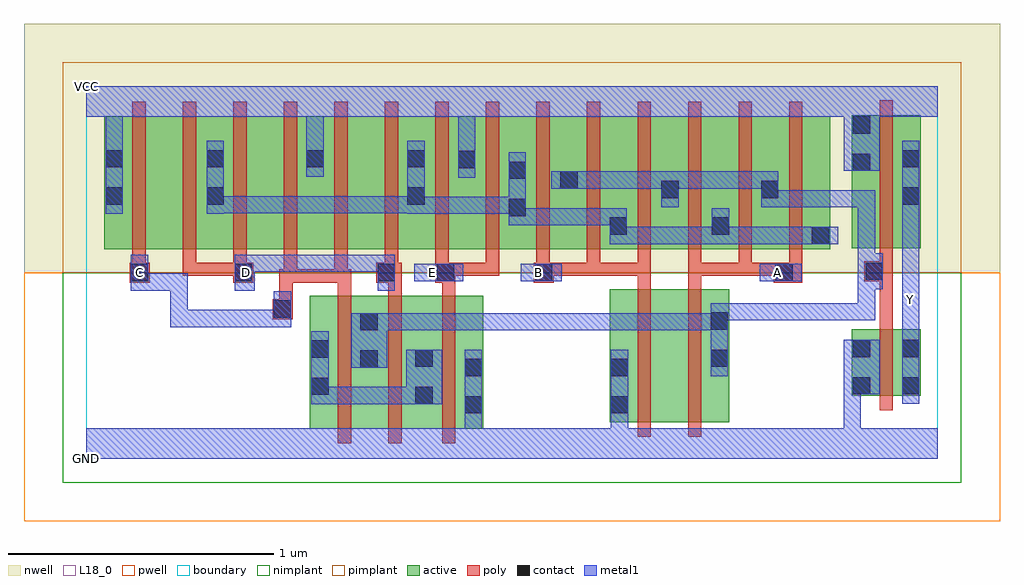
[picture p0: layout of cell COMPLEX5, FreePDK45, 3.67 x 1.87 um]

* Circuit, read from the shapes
.subckt COMPLEX5 A B C D E GND VCC Y
M1 n1 C n2 VSUBS nfet w=0.5u l=0.05u
M2 n2 D n1 VSUBS nfet w=0.5u l=0.05u
M3 GND E n2 VSUBS nfet w=0.5u l=0.05u
M4 n3 B GND VSUBS nfet w=0.5u l=0.05u
M5 n1 A n3 VSUBS nfet w=0.5u l=0.05u
M6 Y n1 GND VSUBS nfet w=0.25u l=0.05u
M7 n4 C VCC n5 pfet w=0.5u l=0.05u
M8 n6 D n4 n5 pfet w=0.5u l=0.05u
M9 n7 D n6 n5 pfet w=0.5u l=0.05u
M10 VCC C n7 n5 pfet w=0.5u l=0.05u
M11 n8 C VCC n5 pfet w=0.5u l=0.05u
M12 n6 D n8 n5 pfet w=0.5u l=0.05u
M13 VCC E n6 n5 pfet w=0.5u l=0.05u m=2
M14 n1 B n6 n5 pfet w=0.5u l=0.05u m=3
M15 n6 A n1 n5 pfet w=0.5u l=0.05u m=3
M16 Y n1 VCC n5 pfet w=0.5u l=0.05u
.ends

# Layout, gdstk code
import gdstk
lib = gdstk.Library(unit=1e-6, precision=1e-09)
def R(c, l, rs):  # rectangles x0, y0, x1, y1
    for r in rs: c.add(gdstk.rectangle(r[:2], r[2:], *l))
def A(c, l, x, y, w, h, nx, ny, dx, dy):  # array of equal rectangles
    R(c, l, [(x+i*dx, y+j*dy, x+i*dx+w, y+j*dy+h) for i in range(nx) for j in range(ny)])
active = (1, 0)
pwell = (2, 0)
nwell = (3, 0)
nimplant = (4, 0)
pimplant = (5, 0)
poly = (9, 0)
contact = (10, 0)
metal1 = (11, 0)
L18_0 = (18, 0)
boundary = (235, 0)

complex5 = lib.new_cell('COMPLEX5')
R(complex5, active, [(0.84,0.112,1.1,0.612), (1.025,0.112,1.307,0.612), (1.232,0.112,1.492,0.612), (1.417,0.112,1.492,0.612), (1.967,0.137,2.192,0.637), (1.967,0.137,2.042,0.637), (2.192,0.137,2.417,0.637), (0.84,0.145,0.915,0.612), (1.025,0.145,1.1,0.592), (1.232,0.145,1.307,0.592), (2.342,0.145,2.417,0.637), (2.877,0.237,2.952,0.487), (2.877,0.237,3.137,0.487), (3.062,0.237,3.137,0.487), (0.067,0.787,0.292,1.287), (0.067,0.787,0.142,1.255), (0.292,0.787,0.522,1.287), (0.447,0.787,0.672,1.287), (0.672,0.787,0.897,1.287), (0.822,0.787,1.052,1.287), (1.052,0.787,1.277,1.287), (1.202,0.787,1.467,1.287), (1.392,0.787,1.657,1.287), (1.582,0.787,1.657,1.2), (1.582,0.787,1.852,1.287), (1.777,0.787,2.037,1.287), (1.962,0.787,2.037,1.07), (1.962,0.787,2.232,1.287), (2.157,0.787,2.422,1.287), (2.347,0.787,2.607,1.287), (2.347,0.787,2.422,1.07), (2.532,0.787,2.797,1.287), (2.532,0.787,2.607,1.2), (2.722,0.787,2.797,1.047), (2.877,0.792,3.137,1.292), (3.062,0.792,3.137,1.2), (0.447,0.807,0.522,1.2), (0.822,0.807,0.897,1.255), (1.202,0.807,1.277,1.2), (1.392,0.807,1.467,1.255), (1.777,0.807,1.852,1.2), (2.157,0.807,2.232,1.2), (2.877,0.807,2.952,1.292)])
R(complex5, pwell, [(-0.235,-0.235,3.435,0.7)])
R(complex5, nwell, [(-0.235,0.7,3.435,1.635)])
R(complex5, nimplant, [(-0.09,-0.09,3.29,0.7)])
R(complex5, pimplant, [(-0.09,0.7,3.29,1.49)])
A(complex5, poly, 0.172, 0.687, 0.05, 0.095, 3, 1, 0.19, 0)
A(complex5, poly, 1.122, 0.687, 0.05, 0.095, 9, 1, 0.19, 0)
A(complex5, poly, 0.172, 0.732, 0.05, 0.61, 14, 1, 0.19, 0)
R(complex5, poly, [(0.945,0.057,0.995,0.667), (1.135,0.057,1.185,0.667), (1.337,0.057,1.387,0.667), (2.072,0.082,2.122,0.692), (2.262,0.082,2.312,0.692), (2.982,0.182,3.032,0.542), (2.982,0.492,3.032,0.717), (0.7,0.525,0.775,0.6), (0.725,0.55,0.775,0.6), (0.725,0.55,0.775,0.6), (0.725,0.55,0.775,0.712), (0.945,0.617,0.995,0.712), (1.135,0.617,1.185,0.712), (1.337,0.617,1.387,0.712), (2.072,0.642,2.122,0.737), (2.262,0.642,2.312,0.737), (0.162,0.662,0.237,0.737), (0.552,0.662,0.627,0.737), (0.725,0.662,0.792,0.712), (0.742,0.662,0.792,0.712), (0.742,0.662,0.792,0.712), (0.742,0.662,0.982,0.712), (0.742,0.662,0.792,0.782), (0.932,0.662,0.982,0.782), (0.932,0.662,0.995,0.712), (1.09,0.662,1.185,0.737), (1.312,0.662,1.387,0.737), (1.682,0.662,1.757,0.737), (2.585,0.662,2.692,0.737), (2.925,0.667,3.032,0.742), (0.362,0.687,0.412,0.737), (0.362,0.687,0.602,0.737), (0.552,0.687,0.602,0.737), (0.552,0.687,0.602,0.737), (1.337,0.687,1.387,0.737), (1.337,0.687,1.387,0.737), (1.337,0.687,1.552,0.737), (1.502,0.687,1.552,0.737), (1.707,0.687,1.757,0.737), (1.707,0.687,1.757,0.737), (1.707,0.687,1.932,0.737), (1.882,0.687,1.932,0.737), (1.882,0.687,2.122,0.737), (2.072,0.687,2.122,0.737), (2.072,0.687,2.122,0.737), (2.072,0.687,2.122,0.737), (2.262,0.687,2.312,0.737), (2.262,0.687,2.312,0.737), (2.262,0.687,2.312,0.737), (2.262,0.687,2.502,0.737), (2.452,0.687,2.502,0.737), (2.452,0.687,2.635,0.737), (2.585,0.687,2.635,0.737), (2.585,0.687,2.635,0.737), (2.982,0.692,3.032,0.787), (2.982,0.737,3.032,1.347)])
R(complex5, contact, [(1.422,0.17,1.487,0.235), (1.972,0.17,2.037,0.235), (1.237,0.205,1.302,0.27), (0.845,0.24,0.91,0.305), (2.882,0.242,2.947,0.307), (3.067,0.242,3.132,0.307), (1.422,0.31,1.487,0.375), (1.972,0.31,2.037,0.375), (1.03,0.342,1.095,0.407), (1.237,0.345,1.302,0.41), (2.347,0.345,2.412,0.41), (0.845,0.38,0.91,0.445), (2.882,0.382,2.947,0.447), (3.067,0.382,3.132,0.447), (1.03,0.482,1.095,0.547), (2.347,0.485,2.412,0.55), (0.705,0.53,0.77,0.595), (0.167,0.667,0.232,0.732), (0.557,0.667,0.622,0.732), (1.095,0.667,1.16,0.732), (1.317,0.667,1.382,0.732), (1.687,0.667,1.752,0.732), (2.59,0.667,2.655,0.732), (2.93,0.672,2.995,0.737), (2.727,0.807,2.792,0.872), (1.967,0.842,2.032,0.907), (2.352,0.842,2.417,0.907), (1.587,0.912,1.652,0.977), (0.072,0.955,0.137,1.02), (0.452,0.955,0.517,1.02), (1.207,0.955,1.272,1.02), (3.067,0.955,3.132,1.02), (2.162,0.98,2.227,1.045), (2.537,0.98,2.602,1.045), (1.782,1.015,1.847,1.08), (1.587,1.052,1.652,1.117), (2.882,1.082,2.947,1.147), (1.397,1.092,1.462,1.157), (0.072,1.095,0.137,1.16), (0.452,1.095,0.517,1.16), (0.827,1.095,0.892,1.16), (1.207,1.095,1.272,1.16), (3.067,1.095,3.132,1.16), (2.882,1.222,2.947,1.287)])
A(complex5, metal1, 1.065, 0.482, 0.065, 0.065, 1, 3, 0, 0.22)
R(complex5, metal1, [(0,0,3.2,0.115), (1.422,0.05,1.487,0.2), (1.972,0.05,2.037,0.2), (2.847,0.05,2.912,0.115), (2.847,0.05,2.912,0.115), (2.847,0.05,2.912,0.115), (2.847,0.05,2.912,0.115), (2.847,0.05,2.912,0.307), (1.422,0.135,1.487,0.41), (1.422,0.135,1.487,0.2), (1.422,0.135,1.487,0.2), (1.972,0.135,2.037,0.41), (1.972,0.135,2.037,0.2), (1.972,0.135,2.037,0.2), (0.845,0.205,0.91,0.48), (0.845,0.205,0.91,0.27), (0.845,0.205,0.91,0.27), (0.845,0.205,1.062,0.27), (0.997,0.205,1.062,0.27), (0.997,0.205,1.062,0.27), (0.997,0.205,1.062,0.27), (0.997,0.205,1.267,0.27), (1.202,0.205,1.337,0.41), (3.067,0.207,3.132,0.482), (2.847,0.242,2.982,0.447), (2.847,0.242,2.912,0.307), (2.847,0.242,2.912,0.307), (2.347,0.31,2.412,0.585), (0.995,0.342,1.13,0.547), (3.067,0.417,3.132,0.597), (1.065,0.482,1.13,0.547), (1.065,0.482,1.267,0.547), (1.202,0.482,1.267,0.547), (1.202,0.482,1.41,0.547), (1.345,0.482,1.41,0.547), (1.345,0.482,1.41,0.547), (1.345,0.482,1.41,0.547), (1.345,0.482,1.555,0.547), (1.49,0.482,1.555,0.547), (1.49,0.482,1.632,0.547), (1.567,0.482,1.632,0.547), (1.567,0.482,1.79,0.547), (1.725,0.482,1.79,0.547), (1.725,0.482,1.79,0.547), (1.725,0.482,1.79,0.547), (1.725,0.482,1.927,0.547), (1.862,0.482,1.927,0.547), (1.862,0.482,2.065,0.547), (2,0.482,2.065,0.547), (2,0.482,2.065,0.547), (2,0.482,2.065,0.547), (2,0.482,2.275,0.547), (2.21,0.482,2.275,0.547), (2.21,0.482,2.275,0.547), (2.21,0.482,2.275,0.547), (2.21,0.482,2.412,0.547), (0.315,0.495,0.38,0.56), (0.315,0.495,0.517,0.56), (0.315,0.495,0.38,0.697), (0.452,0.495,0.517,0.56), (0.452,0.495,0.655,0.56), (0.59,0.495,0.655,0.56), (0.59,0.495,0.655,0.56), (0.59,0.495,0.655,0.56), (0.59,0.495,0.77,0.56), (0.705,0.495,0.77,0.63), (2.347,0.52,2.412,0.585), (2.347,0.52,2.412,0.585), (2.347,0.52,2.555,0.585), (2.49,0.52,2.555,0.585), (2.49,0.52,2.775,0.585), (2.71,0.52,2.965,0.585), (2.71,0.52,2.775,0.585), (2.71,0.52,2.775,0.585), (2.71,0.52,2.775,0.585), (2.9,0.52,2.965,0.585), (2.9,0.52,2.965,0.702), (3.067,0.532,3.132,0.667), (3.067,0.602,3.132,0.985), (0.167,0.632,0.232,0.767), (0.167,0.632,0.232,0.697), (0.167,0.632,0.232,0.697), (0.167,0.632,0.38,0.697), (0.315,0.632,0.38,0.697), (0.315,0.632,0.38,0.697), (0.315,0.632,0.38,0.697), (0.557,0.632,0.632,0.767), (1.095,0.632,1.16,0.767), (2.9,0.637,2.995,0.702), (2.9,0.637,2.965,1.01), (2.9,0.637,2.965,0.702), (2.9,0.637,2.965,0.702), (2.9,0.637,2.965,0.702), (2.93,0.637,2.995,0.772), (1.232,0.667,1.417,0.732), (1.632,0.667,1.787,0.732), (2.532,0.667,2.69,0.732), (0.567,0.702,0.655,0.767), (0.59,0.702,0.655,0.767), (0.59,0.702,0.77,0.767), (0.705,0.702,0.77,0.767), (0.705,0.702,0.89,0.767), (0.825,0.702,0.89,0.767), (0.825,0.702,0.925,0.767), (0.86,0.702,0.925,0.767), (0.86,0.702,1.13,0.767), (1.065,0.702,1.16,0.767), (1.967,0.807,2.032,0.942), (1.967,0.807,2.065,0.872), (2,0.807,2.065,0.872), (2,0.807,2.202,0.872), (2.137,0.807,2.202,0.872), (2.137,0.807,2.202,0.872), (2.137,0.807,2.202,0.872), (2.137,0.807,2.417,0.872), (2.352,0.807,2.417,0.942), (2.352,0.807,2.417,0.872), (2.352,0.807,2.417,0.872), (2.352,0.807,2.62,0.872), (2.555,0.807,2.62,0.872), (2.555,0.807,2.757,0.872), (2.692,0.807,2.757,0.872), (2.692,0.807,2.757,0.872), (2.692,0.807,2.827,0.872), (1.587,0.877,1.652,1.152), (1.587,0.877,1.79,0.942), (1.725,0.877,1.79,0.942), (1.725,0.877,1.79,0.942), (1.725,0.877,1.79,0.942), (1.725,0.877,1.927,0.942), (1.862,0.877,1.927,0.942), (1.862,0.877,2.032,0.942), (0.072,0.92,0.137,1.195), (0.452,0.92,0.517,1.195), (1.207,0.92,1.272,1.195), (1.207,0.92,1.41,0.985), (1.345,0.92,1.41,0.985), (1.345,0.92,1.41,0.985), (1.345,0.92,1.41,0.985), (1.345,0.92,1.56,0.985), (1.495,0.92,1.56,0.985), (1.495,0.92,1.652,0.985), (3.067,0.92,3.132,1.195), (0.452,0.922,0.517,0.987), (0.452,0.922,0.517,0.987), (0.452,0.922,0.752,0.987), (0.687,0.922,0.752,0.987), (0.687,0.922,0.77,0.987), (0.705,0.922,0.77,0.987), (0.705,0.922,0.907,0.987), (0.842,0.922,0.907,0.987), (0.842,0.922,0.907,0.987), (0.842,0.922,0.907,0.987), (0.842,0.922,1.13,0.987), (1.065,0.922,1.13,0.987), (1.065,0.922,1.13,0.987), (1.065,0.922,1.272,0.987), (2.162,0.945,2.227,1.08), (2.537,0.945,2.602,1.08), (2.537,0.945,2.775,1.01), (2.71,0.945,2.965,1.01), (2.71,0.945,2.775,1.01), (2.71,0.945,2.775,1.01), (2.71,0.945,2.775,1.01), (2.9,0.945,2.965,1.01), (1.747,1.015,1.882,1.08), (1.817,1.015,1.927,1.08), (1.862,1.015,1.927,1.08), (1.862,1.015,2.065,1.08), (2,1.015,2.065,1.08), (2,1.015,2.065,1.08), (2,1.015,2.065,1.08), (2,1.015,2.227,1.08), (2.162,1.015,2.227,1.08), (2.162,1.015,2.227,1.08), (2.162,1.015,2.412,1.08), (2.347,1.015,2.602,1.08), (2.347,1.015,2.412,1.08), (2.347,1.015,2.412,1.08), (2.347,1.015,2.412,1.08), (1.397,1.057,1.462,1.192), (0.827,1.06,0.892,1.195), (2.847,1.082,2.982,1.287), (1.397,1.127,1.462,1.35), (0.072,1.13,0.137,1.35), (0.827,1.13,0.892,1.35), (2.917,1.222,2.982,1.35), (0,1.285,3.2,1.4)])
R(complex5, L18_0, [(0,0,3.2,0.115), (1.422,0.05,1.487,0.2), (1.972,0.05,2.037,0.2), (2.847,0.05,2.912,0.115), (2.847,0.05,2.912,0.115), (2.847,0.05,2.912,0.115), (2.847,0.05,2.912,0.115), (2.847,0.05,2.912,0.307), (1.422,0.135,1.487,0.41), (1.422,0.135,1.487,0.2), (1.422,0.135,1.487,0.2), (1.972,0.135,2.037,0.41), (1.972,0.135,2.037,0.2), (1.972,0.135,2.037,0.2), (3.067,0.207,3.132,0.482), (2.847,0.242,2.912,0.307), (2.847,0.242,2.912,0.307), (2.847,0.242,2.982,0.447), (3.067,0.417,3.132,0.597), (0.315,0.495,0.38,0.56), (0.315,0.495,0.38,0.697), (0.315,0.495,0.517,0.56), (0.452,0.495,0.517,0.56), (0.452,0.495,0.655,0.56), (0.59,0.495,0.655,0.56), (0.59,0.495,0.655,0.56), (0.59,0.495,0.655,0.56), (0.59,0.495,0.77,0.56), (0.705,0.495,0.77,0.63), (3.067,0.532,3.132,0.667), (3.067,0.567,3.132,0.632), (3.067,0.602,3.132,0.985), (0.167,0.632,0.232,0.767), (0.167,0.632,0.232,0.697), (0.167,0.632,0.232,0.697), (0.167,0.632,0.38,0.697), (0.315,0.632,0.38,0.697), (0.315,0.632,0.38,0.697), (0.315,0.632,0.38,0.697), (0.557,0.632,0.632,0.767), (1.095,0.632,1.16,0.767), (0.167,0.667,0.232,0.732), (0.567,0.667,0.632,0.732), (1.232,0.667,1.417,0.732), (1.267,0.667,1.332,0.732), (1.632,0.667,1.787,0.732), (1.667,0.667,1.732,0.732), (2.532,0.667,2.69,0.732), (2.567,0.667,2.632,0.732), (0.567,0.702,0.655,0.767), (0.59,0.702,0.655,0.767), (0.59,0.702,0.77,0.767), (0.705,0.702,0.77,0.767), (0.705,0.702,0.89,0.767), (0.825,0.702,0.89,0.767), (0.825,0.702,0.925,0.767), (0.86,0.702,0.925,0.767), (0.86,0.702,1.13,0.767), (1.065,0.702,1.13,0.767), (1.065,0.702,1.16,0.767), (0.072,0.92,0.137,1.195), (3.067,0.92,3.132,1.195), (1.397,1.057,1.462,1.192), (0.827,1.06,0.892,1.195), (2.847,1.082,2.982,1.287), (1.397,1.127,1.462,1.35), (0.072,1.13,0.137,1.35), (0.827,1.13,0.892,1.35), (2.917,1.222,2.982,1.35), (0,1.285,3.2,1.4)])
R(complex5, boundary, [(0,0,3.2,1.4)])
complex5.add(gdstk.Label('A', (2.6,0.7), layer=11, texttype=0))
complex5.add(gdstk.Label('B', (1.7,0.7), layer=11, texttype=0))
complex5.add(gdstk.Label('C', (0.2,0.7), layer=11, texttype=0))
complex5.add(gdstk.Label('D', (0.6,0.7), layer=11, texttype=0))
complex5.add(gdstk.Label('E', (1.3,0.7), layer=11, texttype=0))
complex5.add(gdstk.Label('Y', (3.1,0.6), layer=11, texttype=0))
complex5.add(gdstk.Label('VCC', (0,1.4), layer=11, texttype=0))
complex5.add(gdstk.Label('GND', (0,0), layer=11, texttype=0))

lib.write_gds('COMPLEX5.gds')
